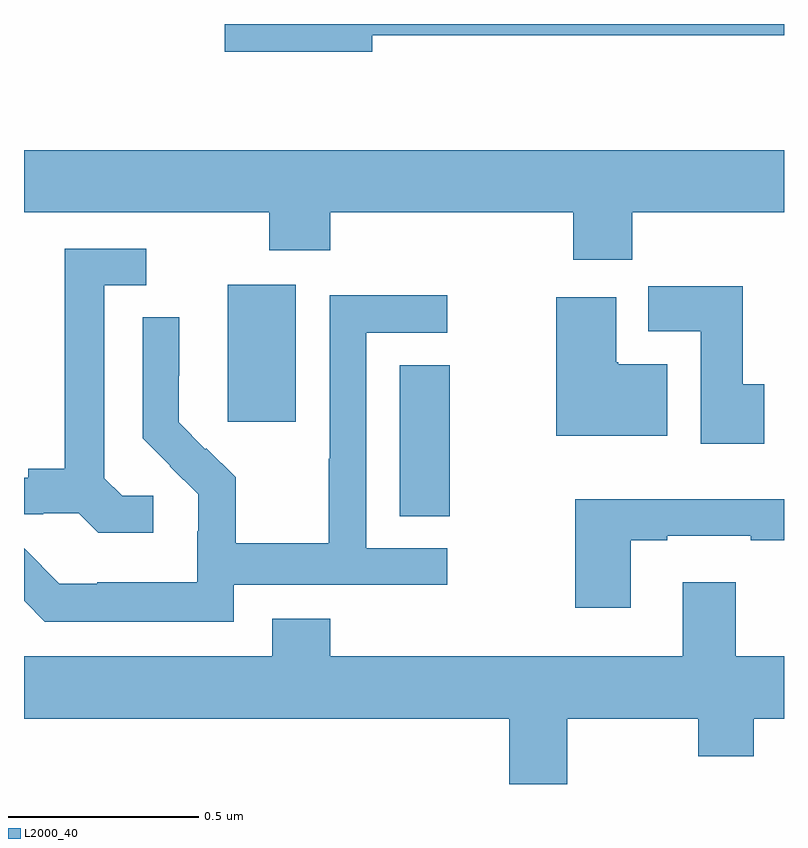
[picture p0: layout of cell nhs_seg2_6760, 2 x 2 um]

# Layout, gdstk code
import gdstk
lib = gdstk.Library(unit=1e-6, precision=1e-09)
def R(c, l, rs):  # rectangles x0, y0, x1, y1
    for r in rs: c.add(gdstk.rectangle(r[:2], r[2:], *l))
def P(c, l, *ps):  # polygons
    for p in ps: c.add(gdstk.Polygon(p, *l))
L2000_40 = (2000, 40)

nhs_seg2_6760 = lib.new_cell('nhs_seg2_6760')
R(nhs_seg2_6760, L2000_40, [(195.989,645.505,196.12,645.902), (195.536,645.753,195.715,646.114)])
P(nhs_seg2_6760, L2000_40, [(195.916,646.77),(197,646.77),(197,646.8),(195.528,646.8),(195.528,646.727),(195.916,646.727)],
  [(196.601,646.304),(197,646.304),(197,646.468),(195,646.468),(195,646.304),(195.646,646.304),(195.646,646.205),(195.806,646.205),(195.806,646.304),(196.445,646.304),(196.445,646.18),(196.601,646.18)],
  [(195.34,645.558),(195.258,645.558),(195.211,645.605),(195.211,646.113),(195.322,646.113),(195.322,646.209),(195.107,646.209),(195.107,645.629),(195.011,645.629),(195.011,645.606),(195,645.606),(195,645.51),(195.05,645.51),(195.05,645.513),(195.144,645.513),(195.196,645.461),(195.34,645.461)],
  [(196.948,645.852),(196.891,645.852),(196.891,646.11),(196.643,646.11),(196.643,645.992),(196.781,645.992),(196.781,645.696),(196.948,645.696)],
  [(195.552,645.324),(196.114,645.324),(196.114,645.42),(195.9,645.42),(195.9,645.987),(196.114,645.987),(196.114,646.086),(195.804,646.086),(195.804,645.656),(195.802,645.656),(195.802,645.433),(195.557,645.433),(195.557,645.607),(195.48,645.684),(195.477,645.681),(195.407,645.752),(195.407,645.874),(195.408,645.874),(195.408,646.028),(195.312,646.028),(195.312,645.71),(195.385,645.637),(195.384,645.636),(195.458,645.562),(195.458,645.465),(195.456,645.465),(195.456,645.331),(195.193,645.331),(195.193,645.327),(195.093,645.327),(195,645.42),(195,645.282),(195.055,645.227),(195.552,645.227)],
  [(196.693,645.904),(196.564,645.904),(196.564,645.91),(196.558,645.91),(196.558,646.081),(196.4,646.081),(196.4,645.716),(196.693,645.716)],
  [(196.597,645.441),(196.693,645.441),(196.693,645.453),(196.913,645.453),(196.913,645.441),(197,645.441),(197,645.55),(196.45,645.55),(196.45,645.264),(196.597,645.264)],
  [(196.429,644.972),(196.774,644.972),(196.774,644.873),(196.921,644.873),(196.921,644.972),(197,644.972),(197,645.136),(196.873,645.136),(196.873,645.331),(196.733,645.331),(196.733,645.136),(195.806,645.136),(195.806,645.235),(195.653,645.235),(195.653,645.136),(195,645.136),(195,644.972),(196.277,644.972),(196.277,644.8),(196.429,644.8)])

lib.write_gds('nhs_seg2_6760.gds')
